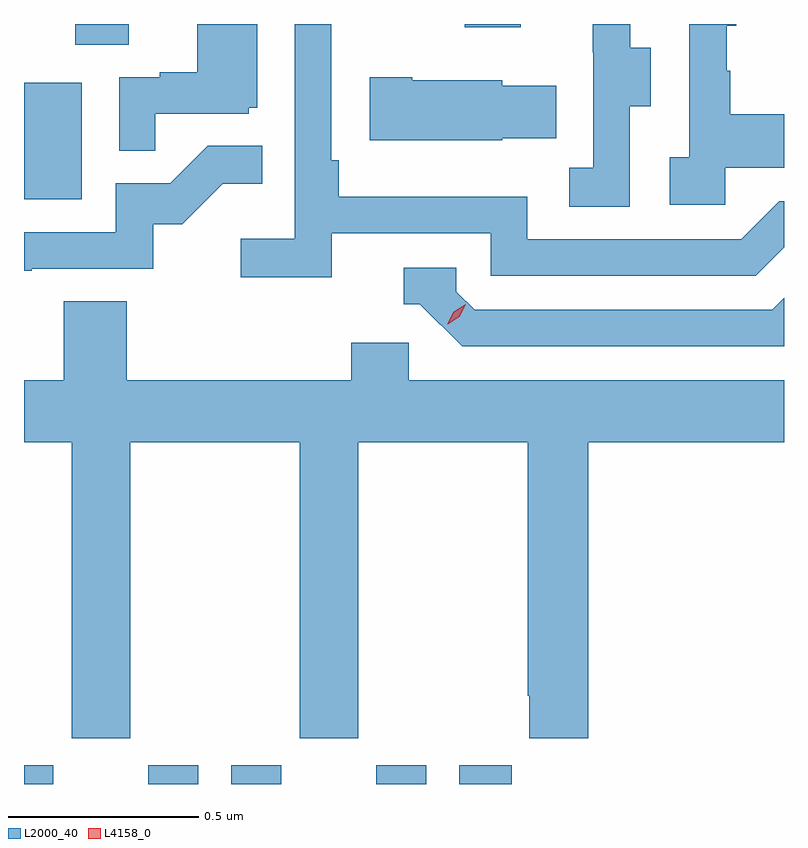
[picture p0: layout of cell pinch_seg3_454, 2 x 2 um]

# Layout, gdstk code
import gdstk
lib = gdstk.Library(unit=1e-6, precision=1e-09)
def R(c, l, rs):  # rectangles x0, y0, x1, y1
    for r in rs: c.add(gdstk.rectangle(r[:2], r[2:], *l))
def P(c, l, *ps):  # polygons
    for p in ps: c.add(gdstk.Polygon(p, *l))
L2000_40 = (2000, 40)
L4158_0 = (4158, 0)

pinch_seg3_454 = lib.new_cell('pinch_seg3_454')
R(pinch_seg3_454, L2000_40, [(922.13,684.033,922.207,684.082), (922.457,684.033,922.588,684.082), (922.676,684.033,922.807,684.082), (923.057,684.033,923.188,684.082), (923.276,684.033,923.413,684.082), (922.13,685.572,922.282,685.879), (922.265,685.978,922.405,686.033), (923.29,686.025,923.437,686.033)])
P(pinch_seg3_454, L2000_40, [(923.724,685.816),(923.779,685.816),(923.779,685.971),(923.725,685.971),(923.725,686.033),(923.627,686.033),(923.627,685.959),(923.628,685.959),(923.628,685.655),(923.565,685.655),(923.565,685.552),(923.724,685.552)],
  [(922.475,685.797),(922.722,685.797),(922.722,685.812),(922.744,685.812),(922.744,686.033),(922.586,686.033),(922.586,685.906),(922.487,685.906),(922.487,685.893),(922.38,685.893),(922.38,685.699),(922.475,685.699)],
  [(922.94,685.482),(923.358,685.482),(923.358,685.371),(924.055,685.371),(924.13,685.446),(924.13,685.566),(924.117,685.566),(924.018,685.467),(923.454,685.467),(923.454,685.579),(922.958,685.579),(922.958,685.675),(922.938,685.675),(922.938,686.033),(922.842,686.033),(922.842,685.468),(922.701,685.468),(922.701,685.366),(922.94,685.366)],
  [(923.976,685.655),(924.13,685.655),(924.13,685.795),(923.989,685.795),(923.989,685.91),(923.979,685.91),(923.979,686.028),(924.004,686.028),(924.004,686.033),(923.88,686.033),(923.88,685.682),(923.829,685.682),(923.829,685.557),(923.976,685.557)],
  [(923.388,685.733),(923.531,685.733),(923.531,685.87),(923.388,685.87),(923.388,685.885),(923.152,685.885),(923.152,685.893),(923.04,685.893),(923.04,685.727),(923.388,685.727)],
  [(922.151,685.389),(922.47,685.389),(922.47,685.506),(922.546,685.506),(922.653,685.613),(922.757,685.613),(922.757,685.712),(922.613,685.712),(922.515,685.614),(922.371,685.614),(922.371,685.485),(922.13,685.485),(922.13,685.384),(922.151,685.384)],
  [(924.13,685.312),(924.099,685.281),(923.316,685.281),(923.268,685.329),(923.268,685.392),(923.129,685.392),(923.129,685.296),(923.172,685.296),(923.283,685.185),(924.13,685.185)],
  [(922.41,684.932),(922.855,684.932),(922.855,684.153),(923.01,684.153),(923.01,684.932),(923.455,684.932),(923.455,684.265),(923.459,684.265),(923.459,684.153),(923.615,684.153),(923.615,684.932),(924.13,684.932),(924.13,685.096),(923.142,685.096),(923.142,685.194),(922.991,685.194),(922.991,685.096),(922.4,685.096),(922.4,685.304),(922.235,685.304),(922.235,685.096),(922.13,685.096),(922.13,684.932),(922.255,684.932),(922.255,684.153),(922.41,684.153)])
P(pinch_seg3_454, L4158_0, [(923.244,685.243),(923.244,685.243),(923.261,685.276),(923.292,685.295),(923.292,685.295),(923.292,685.295),(923.276,685.262),(923.245,685.243)])

lib.write_gds('pinch_seg3_454.gds')
